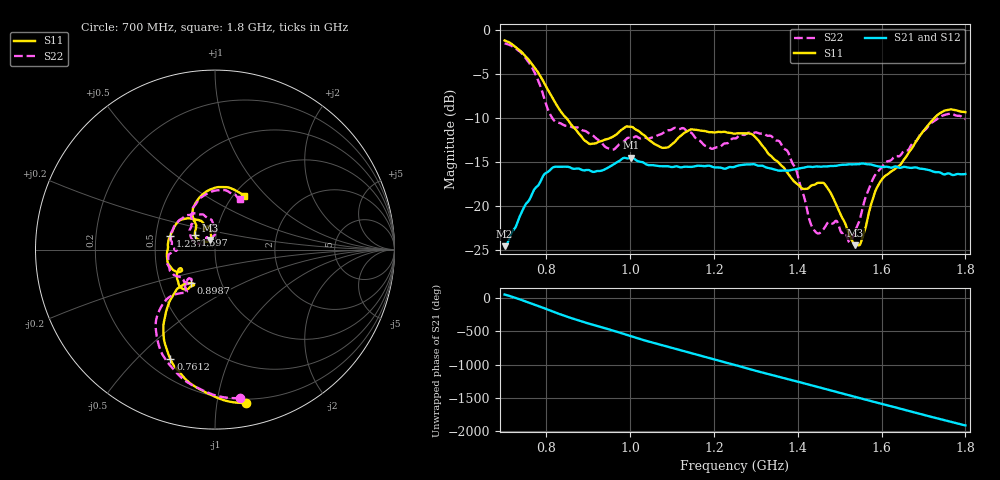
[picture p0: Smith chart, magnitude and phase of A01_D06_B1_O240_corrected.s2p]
! Created with skrf 1.9.0 (http://scikit-rf.org).
# Hz S RI R 50.0
!freq ReS11 ImS11 ReS21 ImS21 ReS12 ImS12 ReS22 ImS22
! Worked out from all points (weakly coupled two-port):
!   1601 points, 700 MHz to 1.8 GHz, reference 50 ohm
!   highest |S21| = -14.50 dB at 1.002 GHz (marker M1); lowest = -24.5 dB at 700 MHz (marker M2)
!   lowest |S11| = -24.5 dB at 1.537 GHz (marker M3), VSWR 1.13, Z = 47.2 + j5.1 ohm
!   |S11| at or under -10 dB: 847.6 MHz to 1.726 GHz (878.1 MHz wide, 68.2 % of centre)
!   |S22| runs from -24.2 to -1.5 dB; largest |S21 - S12| = 0.0035
!   S11 on the Smith chart (normalised r, x): 700 MHz: 0.17, -1.21; 761.2 MHz: 0.29, -0.63; 898.7 MHz: 0.72, -0.28; 1.237 GHz: 0.59, +0.10; 1.597 GHz: 0.79, +0.13; 1.8 GHz: 1.12, +0.76
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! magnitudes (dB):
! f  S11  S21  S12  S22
! 700 MHz  -1.2  -24.5  -24.3  -1.5
! 761.2 MHz  -3.6  -19.1  -19.0  -3.9
! 816.2 MHz  -7.8  -15.6  -15.7  -10.2
! 883.6 MHz  -12.1  -15.9  -15.8  -11.3
! 898.7 MHz  -12.8  -15.9  -15.9  -11.6
! 955.8 MHz  -12.2  -15.4  -15.4  -13.5
! 1.002 GHz  -11.0  -14.5  -14.6  -12.3
! 1.067 GHz  -13.2  -15.4  -15.4  -11.9
! 1.237 GHz  -11.7  -15.6  -15.7  -12.6
! 1.25 GHz  -11.8  -15.5  -15.4  -12.3
! 1.292 GHz  -11.9  -15.2  -15.3  -11.7
! 1.357 GHz  -15.2  -16.0  -15.9  -12.7
! 1.395 GHz  -17.4  -15.8  -15.8  -15.8
! 1.434 GHz  -17.6  -15.6  -15.5  -22.3
! 1.468 GHz  -17.7  -15.5  -15.5  -22.1
! 1.524 GHz  -23.4  -15.2  -15.2  -24.2
! 1.537 GHz  -24.5  -15.2  -15.2  -22.7
! 1.552 GHz  -23.9  -15.2  -15.2  -20.8
! 1.597 GHz  -17.2  -15.5  -15.5  -15.8
! 1.617 GHz  -16.3  -15.6  -15.5  -14.9
! 1.735 GHz  -9.6  -16.1  -16.2  -10.0
! 1.8 GHz  -9.3  -16.3  -16.3  -10.1
